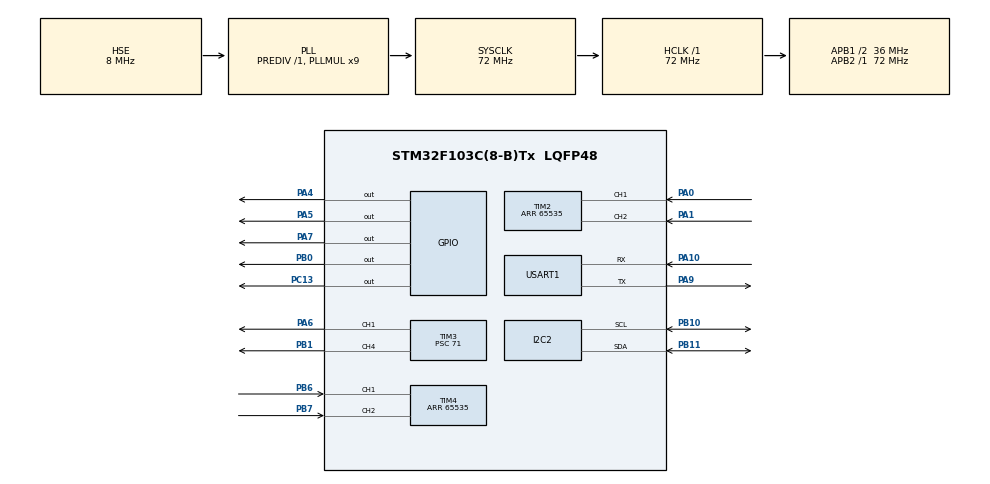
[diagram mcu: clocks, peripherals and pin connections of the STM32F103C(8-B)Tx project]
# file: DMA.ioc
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Dma.Request0=USART1_RX
Dma.Request1=USART1_TX
Dma.USART1_RX.0.Direction=DMA_PERIPH_TO_MEMORY
Dma.USART1_RX.0.Instance=DMA1_Channel5
Dma.USART1_RX.0.MemDataAlignment=DMA_MDATAALIGN_BYTE
Dma.USART1_RX.0.MemInc=DMA_MINC_ENABLE
Dma.USART1_RX.0.Mode=DMA_CIRCULAR
Dma.USART1_RX.0.PeriphDataAlignment=DMA_PDATAALIGN_BYTE
Dma.USART1_RX.0.PeriphInc=DMA_PINC_DISABLE
Dma.USART1_RX.0.Priority=DMA_PRIORITY_LOW
Dma.USART1_TX.1.Direction=DMA_MEMORY_TO_PERIPH
Dma.USART1_TX.1.Instance=DMA1_Channel4
Dma.USART1_TX.1.MemDataAlignment=DMA_MDATAALIGN_BYTE
Dma.USART1_TX.1.MemInc=DMA_MINC_ENABLE
Dma.USART1_TX.1.Mode=DMA_CIRCULAR
Dma.USART1_TX.1.PeriphDataAlignment=DMA_PDATAALIGN_BYTE
Dma.USART1_TX.1.PeriphInc=DMA_PINC_DISABLE
Dma.USART1_TX.1.Priority=DMA_PRIORITY_LOW
I2C2.I2C_Mode=I2C_Fast
Mcu.Family=STM32F1
Mcu.Name=STM32F103C(8-B)Tx
Mcu.Package=LQFP48
NVIC.DMA1_Channel4_IRQn=true\:0\:0\:false\:false\:true\:false\:true
NVIC.DMA1_Channel5_IRQn=true\:0\:0\:false\:false\:true\:false\:true
NVIC.PriorityGroup=NVIC_PRIORITYGROUP_4
NVIC.USART1_IRQn=true\:0\:0\:false\:false\:true\:true\:true
PA0-WKUP.Signal=S_TIM2_CH1_ETR
PA1.Signal=S_TIM2_CH2
PA10.Mode=Asynchronous
PA10.Signal=USART1_RX
PA13.Mode=Serial_Wire
PA13.Signal=SYS_JTMS-SWDIO
PA14.Mode=Serial_Wire
PA14.Signal=SYS_JTCK-SWCLK
PA4.Signal=GPIO_Output
PA5.Signal=GPIO_Output
PA6.Signal=S_TIM3_CH1
PA7.Signal=GPIO_Output
PA9.Mode=Asynchronous
PA9.Signal=USART1_TX
PB0.Signal=GPIO_Output
PB1.Signal=S_TIM3_CH4
PB10.Mode=I2C
PB10.Signal=I2C2_SCL
PB11.Mode=I2C
PB11.Signal=I2C2_SDA
PB6.Signal=S_TIM4_CH1
PB7.Signal=S_TIM4_CH2
PC13-TAMPER-RTC.PinState=GPIO_PIN_SET
PC13-TAMPER-RTC.Signal=GPIO_Output
PC14-OSC32_IN.Mode=LSE-External-Oscillator
PC14-OSC32_IN.Signal=RCC_OSC32_IN
PC15-OSC32_OUT.Mode=LSE-External-Oscillator
PC15-OSC32_OUT.Signal=RCC_OSC32_OUT
PD0-OSC_IN.Mode=HSE-External-Oscillator
PD0-OSC_IN.Signal=RCC_OSC_IN
PD1-OSC_OUT.Mode=HSE-External-Oscillator
PD1-OSC_OUT.Signal=RCC_OSC_OUT
ProjectManager.HeapSize=0x200
ProjectManager.StackSize=0x400
ProjectManager.TargetToolchain=MDK-ARM V5
RCC.AHBFreq_Value=72000000
RCC.APB1CLKDivider=RCC_HCLK_DIV2
RCC.APB1Freq_Value=36000000
RCC.APB1TimFreq_Value=72000000
RCC.APB2Freq_Value=72000000
RCC.APB2TimFreq_Value=72000000
RCC.HCLKFreq_Value=72000000
RCC.PLLMUL=RCC_PLL_MUL9
RCC.PLLSourceVirtual=RCC_PLLSOURCE_HSE
RCC.SYSCLKFreq_VALUE=72000000
RCC.SYSCLKSource=RCC_SYSCLKSOURCE_PLLCLK
RCC.USBFreq_Value=72000000
SH.S_TIM2_CH1_ETR.0=TIM2_CH1,Encoder_Interface
SH.S_TIM2_CH2.0=TIM2_CH2,Encoder_Interface
SH.S_TIM3_CH1.0=TIM3_CH1,PWM Generation1 CH1
SH.S_TIM3_CH4.0=TIM3_CH4,PWM Generation4 CH4
SH.S_TIM4_CH1.0=TIM4_CH1,Encoder_Interface
SH.S_TIM4_CH2.0=TIM4_CH2,Encoder_Interface
TIM2.AutoReloadPreload=TIM_AUTORELOAD_PRELOAD_ENABLE
TIM2.IC1Filter=0
TIM2.IC2Filter=0
TIM2.Period=65535
TIM3.AutoReloadPreload=TIM_AUTORELOAD_PRELOAD_ENABLE
TIM3.Channel-PWM\ Generation1\ CH1=TIM_CHANNEL_1
TIM3.Channel-PWM\ Generation4\ CH4=TIM_CHANNEL_4
TIM3.Period=499
TIM3.Prescaler=71
TIM4.AutoReloadPreload=TIM_AUTORELOAD_PRELOAD_ENABLE
TIM4.EncoderMode=TIM_ENCODERMODE_TI1
TIM4.IC1Filter=0
TIM4.IC2Filter=0
TIM4.IC2Polarity=TIM_ICPOLARITY_RISING
TIM4.Period=65535
USART1.VirtualMode=VM_ASYNC
VP_TIM3_VS_ClockSourceINT.Mode=Internal
board=custom

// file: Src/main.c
/* USER CODE BEGIN Header */
/**
  ******************************************************************************
  * @file           : main.c
  * @brief          : Main program body
  ******************************************************************************
  * @attention
  *
  * <h2><center>&copy; Copyright (c) 2022 STMicroelectronics.
  * All rights reserved.</center></h2>
  *
  * This software component is licensed by ST under BSD 3-Clause license,
  * the "License"; You may not use this file except in compliance with the
  * License. You may obtain a copy of the License at:
  *                        opensource.org/licenses/BSD-3-Clause
  *
  ******************************************************************************
  */
/* USER CODE END Header */

#include "main.h"
#include "dma.h"
#include "i2c.h"
#include "tim.h"
#include "usart.h"
#include "gpio.h"

/* USER CODE BEGIN Includes */
#include "motor.h"
#include "oled.h"
#include "pid.h"

/* USER CODE END Includes */

/* USER CODE BEGIN PV */
unsigned char BMP2[] =
{
  0x00,0x00,0x00,0x00,0x00,0x00,0x00,0x00,0x00,0x00,0x00,0x00,0x00,0x00,0x00,0x00,
  0x00,0x00,0x00,0x00,0x00,0x00,0x00,0x00,0x00,0x00,0x00,0x00,0x00,0x80,0x80,0x80,
  0x00,0x00,0x00,0x00,0x00,0x00,0x00,0x00,0x00,0x00,0x00,0x00,0x00,0x00,0x00,0x00,
  0x00,0x00,0x00,0x00,0x00,0x00,0x00,0x00,0x00,0x00,0x00,0x00,0x00,0x00,0x00,0x00,
  0x00,0x00,0x00,0x00,0x00,0x00,0x00,0x00,0x00,0x00,0x00,0x00,0x00,0x00,0x00,0x80,
  0x80,0xC0,0x40,0x40,0x40,0x40,0x40,0x40,0x40,0x60,0x20,0x60,0xC0,0x80,0x00,0x00,
  0x00,0x00,0x00,0x00,0x00,0x00,0x00,0x00,0x00,0x00,0x00,0x00,0x00,0x00,0x00,0x00,
  0x00,0x00,0x00,0x00,0x00,0x00,0x00,0x00,0x00,0x00,0x00,0x00,0x00,0x00,0x00,0x00,
  0x00,0x00,0x00,0x00,0x00,0x00,0x00,0x00,0x00,0x00,0x00,0x00,0x00,0x00,0x00,0x00,
  0x00,0x00,0x00,0x00,0x00,0x00,0x00,0x00,0x00,0x00,0x00,0xFE,0x83,0x01,0x00,0x21,
  0x61,0x43,0xC6,0x8C,0x18,0x70,0xC0,0x60,0x30,0x18,0x08,0x08,0x08,0x08,0x0C,0x04,
  0x04,0x04,0x04,0x04,0x04,0x04,0x04,0x04,0x04,0x04,0x04,0x04,0x04,0x04,0x04,0x04,
  0x04,0x04,0x04,0x04,0x04,0x04,0x0C,0x08,0x08,0x08,0x38,0x78,0xCE,0xA3,0x31,0x19,
  0x88,0x88,0xC0,0x40,0x40,0x60,0x20,0x30,0x10,0x18,0x08,0x0C,0x06,0x03,0x00,0x00,
  0x00,0x00,0x00,0x00,0x00,0x00,0x00,0x00,0x00,0x00,0x00,0x00,0x00,0x00,0x00,0x00,
  0x00,0x00,0x00,0x00,0x00,0x00,0x00,0x00,0x00,0x00,0x00,0x00,0x00,0x00,0x00,0x00,
  0x00,0x00,0x00,0x00,0x00,0x00,0x00,0x00,0x00,0x00,0x00,0x00,0x00,0x00,0x00,0x00,
  0x00,0x00,0x00,0x00,0x00,0x00,0x00,0x00,0x00,0x00,0x00,0x00,0x03,0x06,0x0C,0x18,
  0xD0,0x70,0x18,0x0D,0x06,0x03,0x01,0x00,0x00,0x00,0x00,0x00,0x00,0x00,0x80,0x80,
  0x00,0x00,0x00,0x00,0x00,0x00,0x00,0x00,0x00,0x00,0x00,0x00,0x00,0x00,0x00,0xC0,
  0xC0,0x00,0x00,0x00,0x00,0x00,0x00,0x00,0x00,0x00,0x00,0x00,0x00,0x03,0x0E,0xFE,
  0x03,0x00,0x00,0x00,0x00,0x00,0x00,0x00,0x00,0x00,0x00,0x00,0x00,0x00,0x00,0x00,
  0x00,0x00,0x00,0x00,0x00,0x00,0x00,0x00,0x00,0x00,0x00,0x00,0x00,0x00,0x00,0x00,
  0x00,0x00,0x00,0x00,0x00,0x00,0x00,0x00,0x00,0x00,0x00,0x00,0x00,0x00,0x00,0x00,
  0x00,0x00,0x00,0x00,0x00,0x00,0x00,0x00,0x00,0x00,0x00,0x00,0x00,0x00,0x00,0x00,
  0x00,0x00,0x00,0x00,0x00,0x00,0x00,0x00,0x00,0x00,0x00,0x00,0x00,0x00,0x00,0xF0,
  0x1F,0x00,0x00,0x00,0x00,0x00,0x00,0x00,0x00,0x00,0x00,0x00,0x00,0x00,0x03,0x03,
  0x00,0x00,0x00,0x00,0x00,0x00,0x00,0x00,0x00,0x00,0x00,0x00,0x00,0x00,0x00,0x03,
  0x03,0x00,0x00,0x00,0x00,0x00,0x00,0x00,0x00,0x00,0x00,0x00,0x00,0x00,0x00,0x01,
  0x7F,0xC0,0x00,0x00,0x00,0x00,0x00,0x00,0x00,0x00,0x00,0x00,0x00,0x00,0x00,0x00,
  0x00,0x00,0x00,0x00,0x00,0x00,0x00,0x00,0x00,0x00,0x00,0x00,0x00,0x00,0x00,0x00,
  0x00,0x00,0x00,0x00,0x00,0x00,0x00,0x00,0x00,0x00,0x00,0x00,0x00,0x00,0x00,0x00,
  0x00,0x00,0x00,0x00,0x00,0x00,0x00,0x00,0x00,0x00,0x00,0x00,0x00,0x00,0x00,0x00,
  0x00,0x00,0x00,0x00,0x00,0x00,0x00,0x00,0x00,0x00,0x00,0x00,0x00,0x00,0x00,0x07,
  0xFC,0x00,0x00,0x00,0x00,0x00,0x00,0x00,0x00,0x00,0x00,0x00,0x00,0x00,0x00,0x00,
  0x00,0xC0,0x70,0x18,0x08,0x88,0x08,0x08,0x08,0x98,0x10,0x10,0x10,0x30,0xE0,0x00,
  0x00,0x00,0x00,0x00,0x00,0x00,0x00,0x00,0x00,0x00,0x00,0x00,0x00,0x00,0x00,0x00,
  0x00,0x1F,0xF0,0x00,0x00,0x00,0x00,0x00,0x00,0x00,0x00,0x00,0x00,0x00,0x00,0x00,
  0x00,0x00,0x00,0x00,0x00,0x00,0x00,0x00,0x00,0x00,0x00,0x00,0x00,0x00,0x00,0x00,
  0x00,0x00,0x00,0x00,0x00,0x00,0x00,0x00,0x00,0x00,0x00,0x00,0x00,0x00,0x00,0x00,
  0x00,0x00,0x00,0x00,0x00,0x00,0x00,0x00,0x00,0x00,0x00,0x00,0x00,0x00,0x00,0x00,
  0x00,0x00,0x00,0x00,0x00,0x00,0x00,0x00,0x00,0x00,0x00,0x00,0x00,0x00,0x00,0x00,
  0x7F,0xC0,0x00,0x00,0x00,0x00,0x00,0x00,0x00,0x00,0x00,0x00,0x00,0x00,0x80,0x00,
  0x07,0x0D,0x18,0x30,0x20,0x21,0x20,0x20,0x20,0x21,0x20,0x20,0x30,0x1C,0x07,0x80,
  0xC0,0x60,0x00,0x00,0x00,0x00,0x00,0x00,0x00,0x00,0x00,0x00,0x00,0x00,0x00,0x80,
  0xE0,0x3C,0x07,0x00,0x00,0x00,0x00,0x00,0x00,0x00,0x00,0x00,0x00,0x00,0x00,0x00,
  0x00,0x00,0x00,0x00,0x00,0x00,0x00,0x00,0x00,0x00,0x00,0x00,0x00,0x00,0x00,0x00,
  0x00,0x00,0x00,0x00,0x00,0x00,0x00,0x00,0x00,0x00,0x00,0x00,0x00,0x00,0x00,0x00,
  0x00,0x00,0x00,0x00,0x00,0x00,0x00,0x00,0x00,0x00,0x00,0x00,0x00,0x00,0x00,0x00,
  0x00,0x00,0x00,0x00,0x00,0x00,0x00,0x00,0x00,0x00,0x00,0x00,0x00,0x00,0x00,0x00,
  0x00,0x01,0x03,0x0E,0x38,0x60,0x40,0xC0,0x80,0x00,0x00,0x00,0x00,0x00,0x01,0x03,
  0x02,0x06,0x04,0x04,0x04,0x04,0x04,0x04,0x04,0x04,0x04,0x06,0x02,0x03,0x01,0x01,
  0x00,0x00,0x00,0x00,0x00,0x00,0x80,0x80,0xC0,0x40,0x60,0x30,0x18,0x0E,0x03,0x01,
  0x00,0x00,0x00,0x00,0x00,0x00,0x00,0x00,0x00,0x00,0x00,0x00,0x00,0x00,0x00,0x00,
  0x00,0x00,0x00,0x00,0x00,0x00,0x00,0x00,0x00,0x00,0x00,0x00,0x00,0x00,0x00,0x00,
  0x00,0x00,0x00,0x00,0x00,0x00,0x00,0x00,0x00,0x00,0x00,0x00,0x00,0x00,0x00,0x00,
  0x00,0x00,0x00,0x00,0x00,0x00,0x00,0x00,0x00,0x00,0x00,0x00,0x00,0x00,0x00,0x00,
  0x00,0x00,0x00,0x00,0x00,0x00,0x00,0x00,0x00,0x00,0x00,0x00,0x00,0x00,0x00,0x00,
  0x00,0x00,0x00,0x00,0x00,0x00,0x00,0x00,0x00,0x01,0x01,0x01,0x01,0x01,0x01,0x01,
  0x01,0x03,0x02,0x02,0x02,0x02,0x02,0x02,0x06,0x04,0x04,0x04,0x04,0x04,0x04,0x04,
  0x06,0x02,0x02,0x02,0x03,0x01,0x01,0x00,0x00,0x00,0x00,0x00,0x00,0x00,0x00,0x00,
  0x00,0x00,0x00,0x00,0x00,0x00,0x00,0x00,0x00,0x00,0x00,0x00,0x00,0x00,0x00,0x00,
  0x00,0x00,0x00,0x00,0x00,0x00,0x00,0x00,0x00,0x00,0x00,0x00,0x00,0x00,0x00,0x00,
  0x00,0x00,0x00,0x00,0x00,0x00,0x00,0x00,0x00,0x00,0x00,0x00,0x00,0x00,0x00,0x00,
};
/* USER CODE END PV */

void SystemClock_Config(void);

/* USER CODE BEGIN 0 */

extern USRAT_RX RX1;
extern unsigned int MotorSpeed1;		//全局变量，电机当前转速
extern unsigned int MotorSpeed2;		//全局变量，电机当前转速
extern int Pwm1;
extern int Pwm2;

void Clear_Usart(USRAT_RX *usart_rx)
//初始化(清空)串口结构体
{
  //全写0
  memset((uint8_t*)usart_rx,0,sizeof(USRAT_RX));
}
/* USER CODE END 0 */

int main(void)
{

  /* MCU Configuration--------------------------------------------------------*/

  /* Reset of all peripherals, Initializes the Flash interface and the Systick. */
  HAL_Init();

  /* Configure the system clock */
  SystemClock_Config();

  /* Initialize all configured peripherals */
  MX_GPIO_Init();
  MX_DMA_Init();
  MX_USART1_UART_Init();
  MX_I2C2_Init();
  MX_TIM2_Init();
  MX_TIM3_Init();
  MX_TIM4_Init();
  /* USER CODE BEGIN 2 */
  OLED_Init();
  OLED_CLS();
  HAL_TIM_PWM_Start(&htim3,TIM_CHANNEL_1);
  HAL_TIM_PWM_Start(&htim3,TIM_CHANNEL_4);
  HAL_TIM_Encoder_Start(&htim2, TIM_CHANNEL_ALL);
  HAL_TIM_Encoder_Start(&htim4, TIM_CHANNEL_ALL);

  Clear_Usart(&RX1); //初始化串口结构体
  __HAL_UART_ENABLE_IT(&huart1,UART_IT_IDLE);	//使能串口2的空闲中断
  HAL_UART_Receive_DMA(&huart1,(uint8_t*)RX1.rx_buff,RX_BUF_MAX_LEN);	//打开DMA传输模式

  OLED_ShowStr(45,2,"C Y H",2);
  HAL_Delay(1500);
  OLED_CLS();
  /* USER CODE END 2 */

  /* Infinite loop */
  /* USER CODE BEGIN WHILE */
  while (1)
    {
      int a;
      if(RX1.flag == 1)	//判断接收完成
        {
          HAL_GPIO_WritePin(GPIOC,GPIO_PIN_13,0);
//          printf("%s\r\n",RX1.rx_buff);		//打印发送的数据
          if(strstr((const char *)RX1.rx_buff,"go") != NULL)
            {
              Pwm1 = 150;
              Pwm2 = 150;
              MOTOR_GO();
              a = 1;//GO
            }
          else if(strstr((const char *)RX1.rx_buff,"back") != NULL)
            {
              Pwm1 = 150;
              Pwm2 = 150;
              MOTOR_BACK();
              a = 2;//BACK
            }
          else if(strstr((const char *)RX1.rx_buff,"mleft") != NULL)
            {
              Pwm1 = 150;
              Pwm2 = 150;
              MOTOR_MLEFT();
              a = 3;//MLEFT
            }
          else if(strstr((const char *)RX1.rx_buff,"mright") != NULL)
            {
              Pwm1 = 150;
              Pwm2 = 150;
              MOTOR_MRIGHT();
              a = 4;//MRIGHT
            }
          else if(strstr((const char *)RX1.rx_buff,"tleft") != NULL)
            {
              Pwm1 = 150;
              Pwm2 = 150;
              MOTOR_TLEFT();
              a = 5;//TLEFT
            }
          else if(strstr((const char *)RX1.rx_buff,"tright") != NULL)
            {
              Pwm1 = 150;
              Pwm2 = 150;
              MOTOR_TRIGHT();
              a = 6;//TIGHT
            }
          else if(strstr((const char *)RX1.rx_buff,"stop") != NULL)
            {
              a = 7;//STOP
            }
          else if(strstr((const char *)RX1.rx_buff,"leftup") != NULL)
            {
              Pwm1 = 150;
              Pwm2 = 150;
              MOTOR_LEFT_UP();
              a = 8;//leftup
            }
          else if(strstr((const char *)RX1.rx_buff,"leftdown") != NULL)
            {
              Pwm1 = 150;
              Pwm2 = 150;
              MOTOR_LEFT_DOWN();
              a = 9;//leftdown
            }
          else if(strstr((const char *)RX1.rx_buff,"rightup") != NULL)
            {
              Pwm1 = 150;
              Pwm2 = 150;
              MOTOR_RIGHT_UP();
              a = 10;//rightup
            }
          else if(strstr((const char *)RX1.rx_buff,"rightdown") != NULL)
            {
              Pwm1 = 150;
              Pwm2 = 150;
              MOTOR_RIGHT_DOWN();
              a = 11;//rightdown
            }
          Clear_Usart(&RX1);	//清空串口结构体
          HAL_Delay(10);
          HAL_GPIO_WritePin(GPIOC,GPIO_PIN_13,1);

          HAL_UART_Receive_DMA(&huart1,(uint8_t*)RX1.rx_buff,RX_BUF_MAX_LEN);		//打开DMA模式
          HAL_UART_DMAResume(&huart1);		//恢复DMA传输
        }

      switch(a)
        {
        case 1:
          ModePID1();
          ModePID2();
          MOTOR_GO();
          break;
        case 2:
          ModePID1();
          ModePID2();
          MOTOR_BACK();
          break;
        case 3:
          ModePID1();
          ModePID2();
          MOTOR_MLEFT();
          break;
        case 4:
          ModePID1();
          ModePID2();
          MOTOR_MRIGHT();
          break;
        case 5:
          ModePID1();
          ModePID2();
          MOTOR_TLEFT();
          break;
        case 6:
          ModePID1();
          ModePID2();
          MOTOR_TRIGHT();
          break;
        case 7:
          ModePID1();
          ModePID2();
          MOTOR_STOP();
          break;
				case 8:
          ModePID1();
          ModePID2();
          MOTOR_LEFT_UP();
          break;
				case 9:
          ModePID1();
          ModePID2();
          MOTOR_LEFT_DOWN();
          break;
				case 10:
          ModePID1();
          ModePID2();
          MOTOR_RIGHT_UP();
          break;
				case 11:
          ModePID1();
          ModePID2();
          MOTOR_RIGHT_DOWN();
          break;
        default:
					MOTOR_STOP();
          break;

        }

      /* USER CODE END WHILE */

    }
}

void SystemClock_Config(void)
{
  RCC_OscInitTypeDef RCC_OscInitStruct = {0};
  RCC_ClkInitTypeDef RCC_ClkInitStruct = {0};

  /** Initializes the CPU, AHB and APB busses clocks
  */
  RCC_OscInitStruct.OscillatorType = RCC_OSCILLATORTYPE_HSE;
  RCC_OscInitStruct.HSEState = RCC_HSE_ON;
  RCC_OscInitStruct.HSEPredivValue = RCC_HSE_PREDIV_DIV1;
  RCC_OscInitStruct.HSIState = RCC_HSI_ON;
  RCC_OscInitStruct.PLL.PLLState = RCC_PLL_ON;
  RCC_OscInitStruct.PLL.PLLSource = RCC_PLLSOURCE_HSE;
  RCC_OscInitStruct.PLL.PLLMUL = RCC_PLL_MUL9;
  if (HAL_RCC_OscConfig(&RCC_OscInitStruct) != HAL_OK)
    {
      Error_Handler();
    }
  /** Initializes the CPU, AHB and APB busses clocks
  */
  RCC_ClkInitStruct.ClockType = RCC_CLOCKTYPE_HCLK|RCC_CLOCKTYPE_SYSCLK
                                |RCC_CLOCKTYPE_PCLK1|RCC_CLOCKTYPE_PCLK2;
  RCC_ClkInitStruct.SYSCLKSource = RCC_SYSCLKSOURCE_PLLCLK;
  RCC_ClkInitStruct.AHBCLKDivider = RCC_SYSCLK_DIV1;
  RCC_ClkInitStruct.APB1CLKDivider = RCC_HCLK_DIV2;
  RCC_ClkInitStruct.APB2CLKDivider = RCC_HCLK_DIV1;

  if (HAL_RCC_ClockConfig(&RCC_ClkInitStruct, FLASH_LATENCY_2) != HAL_OK)
    {
      Error_Handler();
    }
}

void Error_Handler(void)
{
}

/************************ (C) COPYRIGHT STMicroelectronics *****END OF FILE****/
